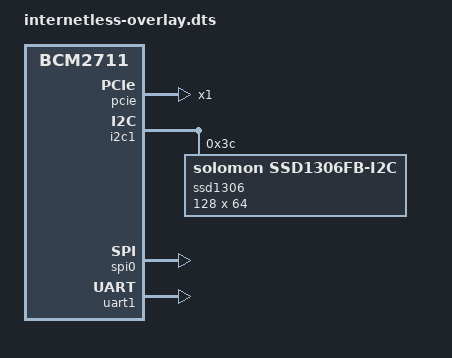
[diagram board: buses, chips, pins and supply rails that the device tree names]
/dts-v1/;
/plugin/;

/ {
    compatible = "brcm,bcm2712", "brcm,bcm2711";

    fragment@0 {
        target = <&pcie>;
        __overlay__ {
            /* Enable PCIe Gen 3 (8 GT/s) on Pi 5 */
            status = "okay";
            ranges = <0x02000000 0x00000000 0x00000000 0x00000000 0x02000000 0x00200000>;
            num-lanes = <1>;
            max-link-speed = <3>;  /* Gen 3 = 8 GT/s */
            aspm = <0x1>;  /* L0s and L1 */
            pcie@0 {
                #address-cells = <3>;
                #size-cells = <2>;
                device_type = "pci";
                ranges = <0x82000000 0 0x00000000 0x00000000 0x00000000 0x00100000>;
                reg = <0x00000000 0 0x00000000 0 0x00100000>;
                interrupt-map-mask = <0 0 0 0x7>;
                interrupt-map = <0 0 0 1 &gic 0 160 4>,
                                <0 0 0 2 &gic 0 161 4>,
                                <0 0 0 3 &gic 0 162 4>,
                                <0 0 0 4 &gic 0 163 4>;
            };
        };
    };

    fragment@1 {
        target = <&i2c1>;
        __overlay__ {
            /* 0.96" SSD1306 OLED on I2C1 (GPIO2/3) */
            status = "okay";
            ssd1306@3c {
                compatible = "solomon,ssd1306fb-i2c";
                reg = <0x3c>;
                width = <128>;
                height = <64>;
                page-offset = <0>;
                segment-offset = <0>;
                com-invdir;
                com-seq;
                charge-pump-voltage = <0x30>;
                prechargep1 = <0x1f>;
                prechargep2 = <0xf>;
                vcomh = <0x40>;
                contrast = <0xff>;
                inversion;
            };
        };
    };

    fragment@2 {
        target = <&gpio>;
        __overlay__ {
            /* UPS Battery Monitor - ADC on GPIO26 (ADC0) */
            ups_monitor: ups_monitor {
                compatible = "internetless,ups-monitor";
                status = "okay";
                adc-channel = <0>;  /* GPIO26 = ADC0 */
                gpios = <&gpio 26 GPIO_ACTIVE_HIGH>;
                voltage-divider-r1 = <100000>;  /* 100k upper */
                voltage-divider-r2 = <10000>;   /* 10k lower = 11:1 divider */
                min-voltage-mv = <3000>;
                max-voltage-mv = <4200>;
                poll-interval-ms = <5000>;
            };

            /* Power status LED */
            power_led: power_led {
                compatible = "gpio-leds";
                status = "okay";
                led-gpios = <&gpio 27 GPIO_ACTIVE_HIGH>;
                default-state = "keep";
            };

            /* Cartridge presence detection (8 GPIOs) */
            cartridge_detect: cartridge_detect {
                compatible = "internetless,cartridge-detect";
                status = "okay";
                gpios = <&gpio 5 GPIO_ACTIVE_LOW>,   /* Slot 1 */
                        <&gpio 6 GPIO_ACTIVE_LOW>,   /* Slot 2 */
                        <&gpio 13 GPIO_ACTIVE_LOW>,  /* Slot 3 */
                        <&gpio 19 GPIO_ACTIVE_LOW>,  /* Slot 4 */
                        <&gpio 20 GPIO_ACTIVE_LOW>,  /* Slot 5 */
                        <&gpio 21 GPIO_ACTIVE_LOW>,  /* Slot 6 */
                        <&gpio 12 GPIO_ACTIVE_LOW>,  /* Slot 7 */
                        <&gpio 16 GPIO_ACTIVE_LOW>;  /* Slot 8 */
            };
        };
    };

    fragment@3 {
        target = <&spi0>;
        __overlay__ {
            /* Optional: SPI for additional sensors */
            status = "okay";
        };
    };

    fragment@4 {
        target = <&uart1>;
        __overlay__ {
            /* Optional: Serial console / modem AT commands */
            status = "okay";
        };
    };
};

/* Compile with:
 *   dtc -@ -I dts -O dtb -o internetless-overlay.dtbo internetless-overlay.dts
 * Install:
 *   sudo cp internetless-overlay.dtbo /boot/firmware/overlays/
 * Enable in config.txt:
 *   dtoverlay=internetless-overlay
 */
